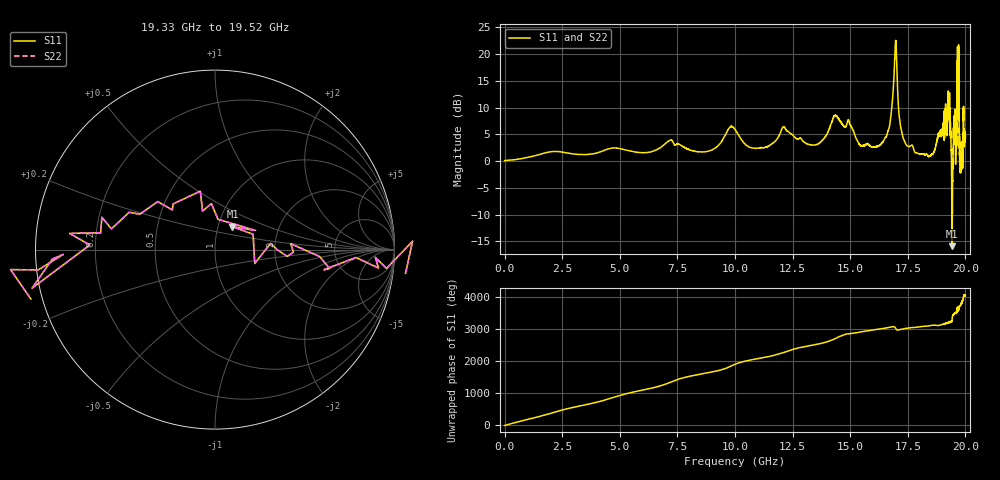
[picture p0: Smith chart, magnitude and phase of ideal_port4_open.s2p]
! Created with skrf (http://scikit-rf.org).
# GHz S RI R 50.0
!freq ReS11 ImS11 ReS21 ImS21 ReS12 ImS12 ReS22 ImS22
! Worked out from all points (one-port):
!   10001 points, 1 MHz to 20 GHz, reference 50 ohm
!   lowest |S11| = -15.9 dB at 19.42 GHz (marker M1), VSWR 1.38, Z = 58.6 + j15.4 ohm
!   |S11| at or under -10 dB: 19.41576 GHz to 19.43173 GHz (15.97 MHz wide, 0.0822 % of centre)
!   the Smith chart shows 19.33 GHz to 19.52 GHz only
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0.001  1.004 0.0112  0 0  0 0  1.004 0.0112
2.366882  -0.0943 1.222  0 0  0 0  -0.0943 1.222
3.334833  -0.2461 -1.124  0 0  0 0  -0.2461 -1.124
6.668667  -0.8698 0.9675  0 0  0 0  -0.8698 0.9675
7.20064  -0.1867 -1.561  0 0  0 0  -0.1867 -1.561
8.012599  0.0758 1.278  0 0  0 0  0.0758 1.278
9.374531  0.3065 -1.444  0 0  0 0  0.3065 -1.444
10.0005  -0.4224 1.928  0 0  0 0  -0.4224 1.928
10.79846  -0.4148 -1.254  0 0  0 0  -0.4148 -1.254
11.65842  1.442 0.3351  0 0  0 0  1.442 0.3351
12.40838  -1.81 0.0126  0 0  0 0  -1.81 0.0126
13.33433  1.232 -0.6858  0 0  0 0  1.232 -0.6858
14.0703  -0.285 1.934  0 0  0 0  -0.285 1.934
14.34028  -2.633 0.2393  0 0  0 0  -2.633 0.2393
14.96425  1.98 -1.109  0 0  0 0  1.98 -1.109
16.66817  -1.917 0.4922  0 0  0 0  -1.917 0.4922
16.89816  -6.026 -1.144  0 0  0 0  -6.026 -1.144
17.05015  0.4453 5.168  0 0  0 0  0.4453 5.168
17.11214  -0.1882 2.85  0 0  0 0  -0.1882 2.85
17.50412  -1.149 0.7456  0 0  0 0  -1.149 0.7456
19.42203  0.0973 0.1279  0 0  0 0  0.0973 0.1279
20  0.5645 1.541  0 0  0 0  0.5645 1.541
